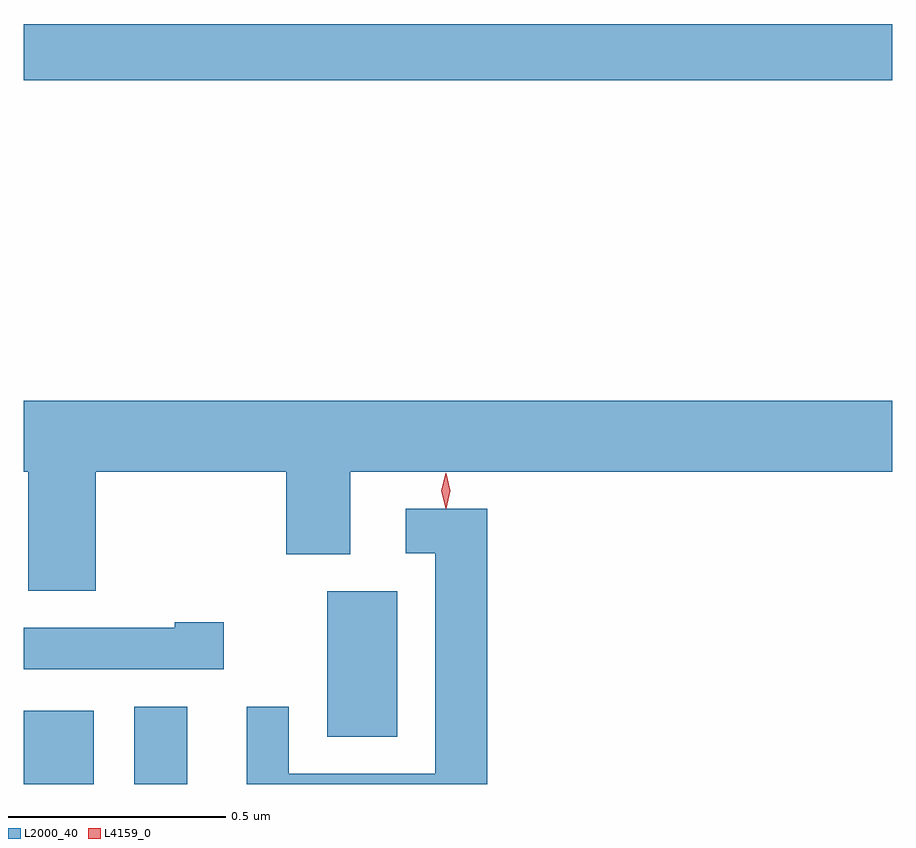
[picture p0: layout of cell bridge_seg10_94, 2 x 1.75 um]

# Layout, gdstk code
import gdstk
lib = gdstk.Library(unit=1e-6, precision=1e-09)
def R(c, l, rs):  # rectangles x0, y0, x1, y1
    for r in rs: c.add(gdstk.rectangle(r[:2], r[2:], *l))
def P(c, l, *ps):  # polygons
    for p in ps: c.add(gdstk.Polygon(p, *l))
L2000_40 = (2000, 40)
L4159_0 = (4159, 0)

bridge_seg10_94 = lib.new_cell('bridge_seg10_94')
R(bridge_seg10_94, L2000_40, [(587.795,1259.637,587.956,1259.806), (588.05,1259.637,588.172,1259.815), (588.494,1259.746,588.655,1260.081), (587.795,1261.258,589.795,1261.387)])
P(bridge_seg10_94, L2000_40, [(587.961,1260.356),(588.4,1260.356),(588.4,1260.166),(588.547,1260.166),(588.547,1260.356),(589.795,1260.356),(589.795,1260.52),(587.795,1260.52),(587.795,1260.356),(587.806,1260.356),(587.806,1260.082),(587.961,1260.082)],
  [(588.862,1260.271),(588.675,1260.271),(588.675,1260.168),(588.743,1260.168),(588.743,1259.661),(588.405,1259.661),(588.405,1259.815),(588.308,1259.815),(588.308,1259.637),(588.862,1259.637)],
  [(588.256,1260.01),(588.143,1260.01),(588.143,1259.997),(587.795,1259.997),(587.795,1259.901),(588.256,1259.901)])
P(bridge_seg10_94, L4159_0, [(588.767,1260.271),(588.757,1260.312),(588.767,1260.353),(588.767,1260.353),(588.768,1260.353),(588.777,1260.312),(588.768,1260.271),(588.768,1260.271)])

lib.write_gds('bridge_seg10_94.gds')
